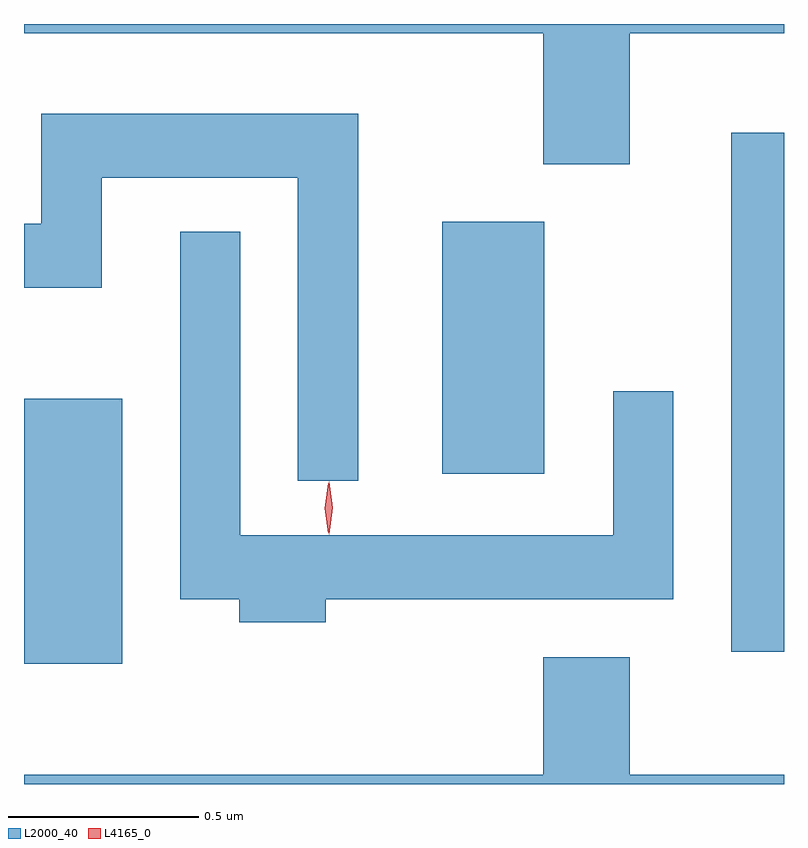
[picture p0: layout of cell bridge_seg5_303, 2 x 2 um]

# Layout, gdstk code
import gdstk
lib = gdstk.Library(unit=1e-6, precision=1e-09)
def R(c, l, rs):  # rectangles x0, y0, x1, y1
    for r in rs: c.add(gdstk.rectangle(r[:2], r[2:], *l))
def P(c, l, *ps):  # polygons
    for p in ps: c.add(gdstk.Polygon(p, *l))
L2000_40 = (2000, 40)
L4165_0 = (4165, 0)

bridge_seg5_303 = lib.new_cell('bridge_seg5_303')
R(bridge_seg5_303, L2000_40, [(692.576,1508.448,692.715,1509.814), (691.816,1508.916,692.084,1509.579)])
P(bridge_seg5_303, L2000_40, [(692.309,1510.076),(692.715,1510.076),(692.715,1510.1),(690.715,1510.1),(690.715,1510.076),(692.081,1510.076),(692.081,1509.731),(692.309,1509.731)],
  [(691.594,1509.864),(690.761,1509.864),(690.761,1509.574),(690.715,1509.574),(690.715,1509.406),(690.919,1509.406),(690.919,1509.696),(691.436,1509.696),(691.436,1508.898),(691.594,1508.898)],
  [(691.509,1508.586),(692.424,1508.586),(692.424,1509.133),(692.266,1509.133),(692.266,1508.754),(691.284,1508.754),(691.284,1509.553),(691.126,1509.553),(691.126,1508.586),(691.281,1508.586),(691.281,1508.526),(691.509,1508.526)],
  [(690.974,1509.114),(690.715,1509.114),(690.715,1508.886),(690.716,1508.886),(690.716,1508.416),(690.974,1508.416)],
  [(692.715,1508.124),(692.309,1508.124),(692.309,1508.434),(692.081,1508.434),(692.081,1508.124),(690.715,1508.124),(690.715,1508.1),(692.715,1508.1)])
P(bridge_seg5_303, L4165_0, [(691.518,1508.757),(691.518,1508.757),(691.508,1508.827),(691.518,1508.896),(691.518,1508.896),(691.518,1508.896),(691.528,1508.827),(691.518,1508.757)],
  [(691.515,1508.76),(691.506,1508.826),(691.515,1508.892),(691.516,1508.893),(691.516,1508.892),(691.526,1508.826),(691.516,1508.76),(691.516,1508.76)])

lib.write_gds('bridge_seg5_303.gds')
